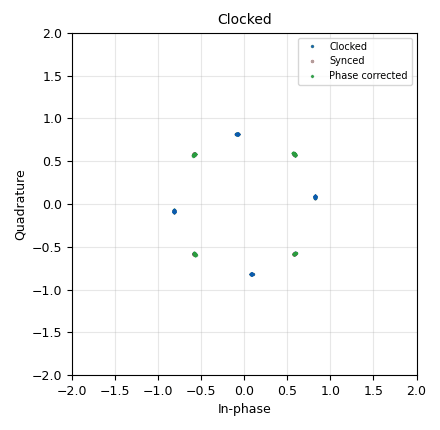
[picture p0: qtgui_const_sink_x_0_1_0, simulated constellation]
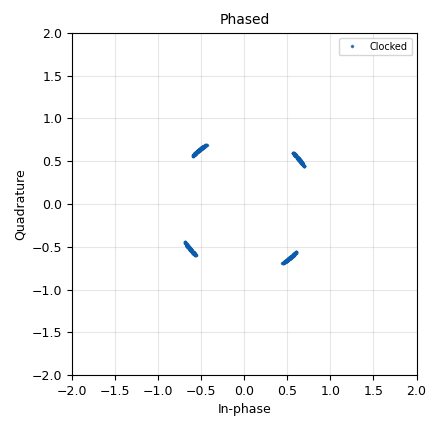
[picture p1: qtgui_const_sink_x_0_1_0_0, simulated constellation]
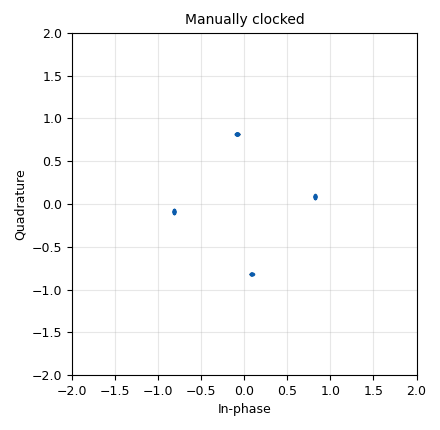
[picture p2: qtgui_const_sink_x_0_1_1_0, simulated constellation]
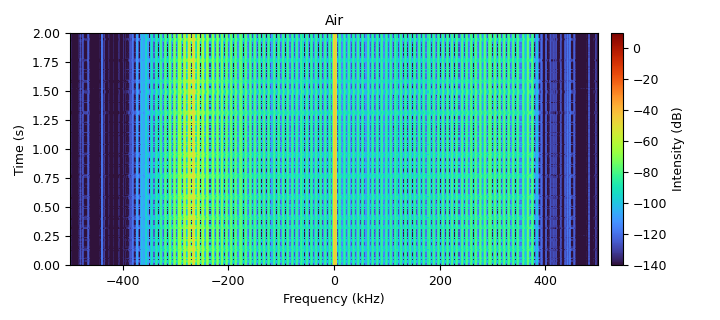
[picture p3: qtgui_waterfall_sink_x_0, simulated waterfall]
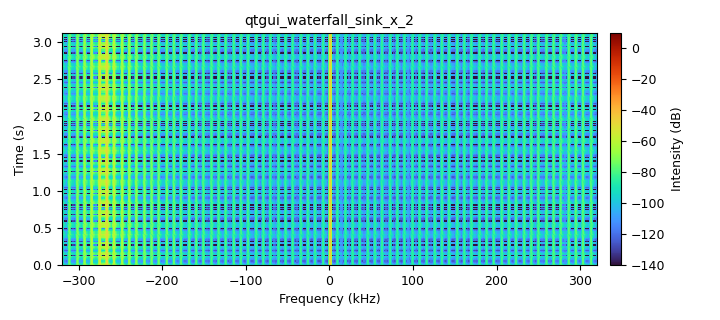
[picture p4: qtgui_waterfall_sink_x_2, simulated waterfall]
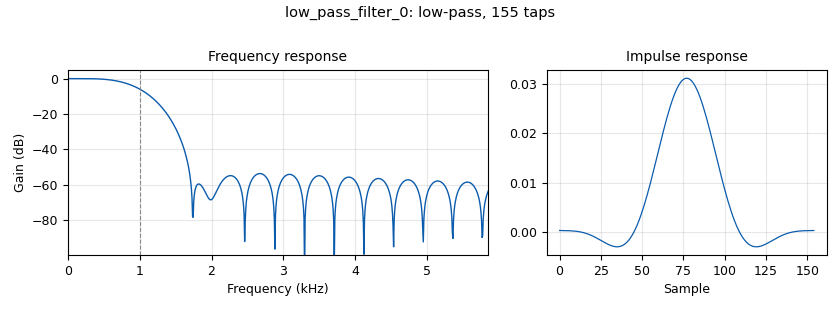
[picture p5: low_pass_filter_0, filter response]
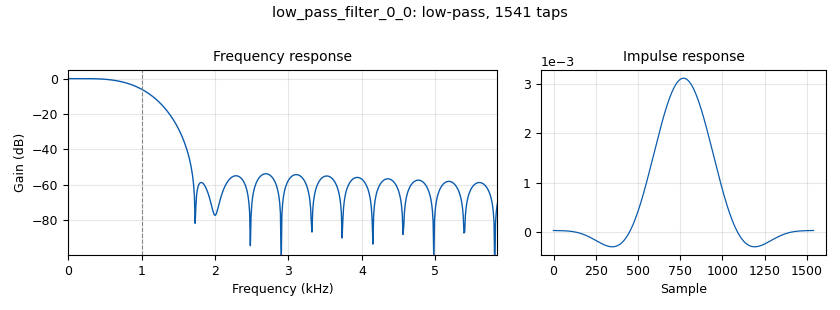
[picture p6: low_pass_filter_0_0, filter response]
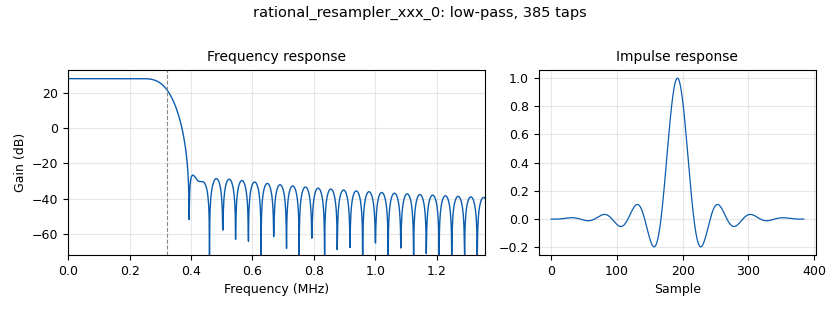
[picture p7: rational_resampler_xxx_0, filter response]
options:
  parameters:
    author: Thomas
    generate_options: qt_gui
    id: ofdm_example
    output_language: python
    title: OFDM test
  states: {}

blocks:
- name: bucket
  id: variable
  parameters:
    value: '5'
  states: {state: disabled}
- name: bucket
  id: variable_qtgui_entry
  parameters:
    gui_hint: controls@0
    type: int
    value: '5'
  states: {}
- name: buckets
  id: variable
  parameters:
    value: '64'
  states: {}
- name: coarse_lock_alpha
  id: variable_qtgui_entry
  parameters:
    gui_hint: controls@3
    type: real
    value: '0.001'
  states: {}
- name: coarse_phase_lock_alpha
  id: variable_qtgui_entry
  parameters:
    gui_hint: controls@3
    type: real
    value: '0.01'
  states: {}
- name: costas_bw
  id: variable_qtgui_entry
  parameters:
    gui_hint: controls@2
    type: real
    value: math.pi/100
  states: {}
- name: freq
  id: variable
  parameters:
    value: 2.3950e9
  states: {}
- name: freq_ofs
  id: variable_qtgui_range
  parameters:
    gui_hint: controls@0
    start: '-500'
    step: '0.1'
    stop: '10000'
    value: '0'
  states: {}
- name: hw_rx_offset
  id: variable_qtgui_entry
  parameters:
    gui_hint: controls@4
    type: real
    value: '0'
  states: {}
- name: igain
  id: variable_qtgui_range
  parameters:
    gui_hint: controls@4
    start: '0'
    step: '0.01'
    stop: '1'
    value: '0'
  states: {}
- name: noise
  id: variable_qtgui_entry
  parameters:
    gui_hint: controls@0
    type: real
    value: '0'
  states: {}
- name: ogain
  id: variable_qtgui_range
  parameters:
    gui_hint: controls@4
    start: '0'
    step: '0.01'
    stop: '1'
    value: '0'
  states: {}
- name: other_mag
  id: variable_qtgui_range
  parameters:
    gui_hint: controls@0
    start: '0'
    step: '0.01'
    stop: '1'
    value: '0'
  states: {}
- name: probe_freq_ofs
  id: variable_function_probe
  parameters:
    block_id: probe_freq_probe
    function_name: level
    poll_rate: '10'
    value: '0'
  states: {}
- name: probe_phase_ofs
  id: variable_function_probe
  parameters:
    block_id: probe_phase_probe
    function_name: level
    poll_rate: '10'
    value: '0'
  states: {}
- name: rf_samp_rate
  id: variable
  parameters:
    value: '1000000'
  states: {}
- name: rrc_beta
  id: variable_qtgui_range
  parameters:
    gui_hint: controls@1
    start: '0.01'
    step: '0.01'
    stop: '1'
    value: '0.65'
  states: {}
- name: rrc_taps
  id: variable
  parameters:
    value: '131'
  states: {}
- name: samp_rate
  id: variable
  parameters:
    value: '1000'
  states: {}
- name: sps
  id: variable
  parameters:
    value: '10'
  states: {}
- name: sps_delay
  id: variable_qtgui_range
  parameters:
    gui_hint: tabs@2
    rangeType: int
    start: '0'
    step: '1'
    stop: sps
    value: '9'
  states: {}
- name: sym_power
  id: variable_qtgui_entry
  parameters:
    gui_hint: controls@0
    type: real
    value: '1'
  states: {}
- name: symbol_sync_loop_bw
  id: variable_qtgui_entry
  parameters:
    gui_hint: controls@2
    type: real
    value: '0.06283'
  states: {}
- name: ted_gain
  id: variable_qtgui_range
  parameters:
    gui_hint: controls@2
    start: '0'
    step: '0.01'
    stop: '1'
    value: '1'
  states: {}
- name: winwin
  id: variable
  parameters:
    value: window.rectangular(buckets)
  states: {}
- name: winwin_0
  id: variable
  parameters:
    value: '[(1.0/buckets)**0.5]*buckets'
  states: {}
- name: winwin_blackmanharris
  id: variable
  parameters:
    value: window.blackmanharris(buckets)
  states: {}
- name: analog_const_source_x_0
  id: analog_const_source_x
  parameters:
    const: '1'
    type: float
  states: {state: disabled}
- name: analog_pll_freqdet_cf_0
  id: analog_pll_freqdet_cf
  parameters:
    max_freq: '0.2'
    min_freq: '-0.2'
    w: 2*3.14/15000
  states: {}
- name: analog_quadrature_demod_cf_0
  id: analog_quadrature_demod_cf
  parameters:
    gain: '1'
  states: {}
- name: analog_quadrature_demod_cf_1
  id: analog_quadrature_demod_cf
  parameters:
    gain: (samp_rate*buckets)/(2*math.pi)
  states: {}
- name: analog_random_source_x_0
  id: analog_random_source_x
  parameters:
    max: '4'
    min: '0'
    num_samps: '1000'
    repeat: 'True'
    type: byte
  states: {}
- name: analog_random_source_x_1
  id: analog_random_source_x
  parameters:
    max: '2'
    min: '0'
    num_samps: '1000'
    repeat: 'True'
    type: int
  states: {state: disabled}
- name: analog_random_source_x_2
  id: analog_random_source_x
  parameters:
    max: 2+freq_ofs
    min: '1'
    num_samps: '1000'
    repeat: 'True'
    type: int
  states: {state: disabled}
- name: analog_sig_source_x_0
  id: analog_sig_source_x
  parameters:
    amp: '1'
    freq: '-probe_freq_ofs'
    offset: '0'
    phase: '0'
    samp_rate: samp_rate*sps*buckets
    type: complex
    waveform: analog.GR_COS_WAVE
  states: {}
- name: blocks_complex_to_arg_0
  id: blocks_complex_to_arg
  parameters: {}
  states: {}
- name: blocks_delay_0
  id: blocks_delay
  parameters:
    comment: |-
      Manually clocked path only
      works when not frequency
      tracking.
    delay: sps_delay
    type: complex
  states: {}
- name: blocks_delay_1
  id: blocks_delay
  parameters:
    delay: '5'
    type: complex
  states: {}
- name: blocks_int_to_float_0
  id: blocks_int_to_float
  parameters:
    scale: samp_rate*sps*buckets
  states: {state: disabled}
- name: blocks_keep_m_in_n_0
  id: blocks_keep_m_in_n
  parameters:
    m: buckets
    n: buckets+buckets//8
    offset: 0*buckets//8
    type: complex
  states: {}
- name: blocks_keep_one_in_n_0
  id: blocks_keep_one_in_n
  parameters:
    n: sps
    type: complex
  states: {}
- name: blocks_keep_one_in_n_2
  id: blocks_keep_one_in_n
  parameters:
    n: '100'
    type: float
  states: {}
- name: blocks_keep_one_in_n_2_1
  id: blocks_keep_one_in_n
  parameters:
    n: '100'
    type: float
  states: {}
- name: blocks_moving_average_xx_0
  id: blocks_moving_average_xx
  parameters:
    length: '1000'
    max_iter: '4000'
    scale: 1/1000*1/(2*math.pi)*samp_rate*sps
    type: float
  states: {}
- name: blocks_multiply_const_vxx_0
  id: blocks_multiply_const_vxx
  parameters:
    const: sym_power*math.sqrt(2)/2
    type: complex
  states: {}
- name: blocks_multiply_const_vxx_1
  id: blocks_multiply_const_vxx
  parameters:
    const: buckets*[1.0/buckets]
    type: complex
    vlen: buckets
  states: {state: disabled}
- name: blocks_multiply_const_vxx_1_0
  id: blocks_multiply_const_vxx
  parameters:
    const: 1.0/buckets
    type: complex
  states: {}
- name: blocks_multiply_const_vxx_2
  id: blocks_multiply_const_vxx
  parameters:
    const: 1/(2*math.pi)*samp_rate*sps
    type: float
  states: {}
- name: blocks_multiply_const_vxx_3
  id: blocks_multiply_const_vxx
  parameters:
    const: ' np.exp(-1j*((probe_phase_ofs + math.pi) % (2*math.pi) / 4))'
    type: complex
  states: {}
- name: blocks_multiply_const_vxx_3_0
  id: blocks_multiply_const_vxx
  parameters:
    comment: |-
      Phase corrected from other
      Symbol Sync.
    const: ' np.exp(-1j*((probe_phase_ofs + math.pi) % (2*math.pi) / 4))'
    type: complex
  states: {}
- name: blocks_multiply_xx_0
  id: blocks_multiply_xx
  parameters:
    comment: |-
      Phase of samples to the fourth power
      makes us able to extract phase offset
      despite having four constellation points.
    num_inputs: '4'
    type: complex
  states: {}
- name: blocks_multiply_xx_1
  id: blocks_multiply_xx
  parameters:
    type: complex
  states: {}
- name: blocks_null_sink_0
  id: blocks_null_sink
  parameters:
    type: complex
  states: {}
- name: blocks_null_sink_1
  id: blocks_null_sink
  parameters:
    type: float
  states: {}
- name: blocks_null_sink_1_0
  id: blocks_null_sink
  parameters:
    type: float
  states: {}
- name: blocks_null_source_0
  id: blocks_null_source
  parameters:
    type: complex
  states: {state: disabled}
- name: blocks_packed_to_unpacked_xx_0
  id: blocks_packed_to_unpacked_xx
  parameters:
    bits_per_chunk: '2'
    endianness: gr.GR_MSB_FIRST
    type: byte
  states: {state: disabled}
- name: blocks_repeat_0
  id: blocks_repeat
  parameters:
    interp: sps
    type: complex
  states: {}
- name: blocks_stream_to_vector_0
  id: blocks_stream_to_vector
  parameters:
    num_items: buckets
    type: complex
  states: {}
- name: blocks_throttle2_0
  id: blocks_throttle2
  parameters:
    samples_per_second: samp_rate*10
    type: byte
  states: {}
- name: blocks_vector_source_x_0
  id: blocks_vector_source_x
  parameters:
    repeat: 'True'
    type: byte
    vector: (42,93,84,13,132)
  states: {state: disabled}
- name: blocks_vector_to_stream_1
  id: blocks_vector_to_stream
  parameters:
    num_items: buckets
    type: complex
  states: {state: disabled}
- name: channels_channel_model2_0
  id: channels_channel_model2
  parameters:
    comment: Currently unused nastier frequency noise
    epsilon: '1.0'
    noise_voltage: '0.0'
    seed: '0'
    taps: '1.0'
  states: {state: disabled}
- name: channels_channel_model_0
  id: channels_channel_model
  parameters:
    epsilon: '1.0'
    freq_offset: float(freq_ofs)/(rf_samp_rate)
    noise_voltage: noise
    seed: '0'
    taps: '1.0'
  states: {}
- name: controls
  id: qtgui_tab_widget
  parameters:
    gui_hint: 0,0
    label0: Generator
    label1: Shaping
    label2: Symbol sync
    label3: Freq lock
    label4: TX/RX
    num_tabs: '5'
  states: {}
- name: digital_chunks_to_symbols_xx_0
  id: digital_chunks_to_symbols_xx
  parameters:
    dimension: '1'
    in_type: byte
    out_type: complex
    symbol_table: '[1+1j,-1+1j,-1+-1j,1-1j]'
  states: {}
- name: digital_costas_loop_cc_0
  id: digital_costas_loop_cc
  parameters:
    comment: |-
      The bandwidth here is small because most of the tuning
      is already done by the pilot signal tune.

      Ideally we would have the main tuner signal "locked"
      via a tag so that the costas loop can reset its state.
    order: '4'
    w: costas_bw
  states: {}
- name: digital_ofdm_cyclic_prefixer_0
  id: digital_ofdm_cyclic_prefixer
  parameters:
    cp_len: buckets//8
    input_size: buckets
    tagname: '""'
  states: {}
- name: digital_symbol_sync_xx_0
  id: digital_symbol_sync_xx
  parameters:
    constellation: digital.constellation_qpsk().base()
    damping: '1.0'
    loop_bw: symbol_sync_loop_bw
    max_dev: '0.5'
    osps: '1'
    resamp_type: digital.IR_MMSE_8TAP
    sps: sps
    ted_gain: ted_gain
    ted_type: digital.TED_GARDNER
    type: cc
  states: {}
- name: digital_symbol_sync_xx_0_0
  id: digital_symbol_sync_xx
  parameters:
    constellation: digital.constellation_qpsk().base()
    damping: '1.0'
    loop_bw: symbol_sync_loop_bw
    max_dev: '0.5'
    osps: '1'
    resamp_type: digital.IR_MMSE_8TAP
    sps: sps
    ted_gain: ted_gain
    ted_type: digital.TED_GARDNER
    type: cc
  states: {}
- name: epy_block_0
  id: epy_block
  parameters:
    M: bucket
    N: buckets
    _source_code: |
      """
      Embedded Python Blocks:

      Each time this file is saved, GRC will instantiate the first class it finds
      to get ports and parameters of your block. The arguments to __init__  will
      be the parameters. All of them are required to have default values!
      """
      import numpy as np
      import random
      from gnuradio import gr


      class blk(gr.sync_block):
          """Place each complex input sample at index M of an N-element vector."""

          def __init__(self, N=64, M=0, mag = 0.5):
              if N <= 0:
                  raise ValueError("N must be positive")
              if not 0 <= M < N:
                  raise ValueError("M must satisfy 0 <= M < N")

              self.N = int(N)
              self.M = int(M)
              self.mag = mag

              gr.sync_block.__init__(
                  self,
                  name="Complex to sparse vector",
                  in_sig=[np.complex64],
                  out_sig=[(np.complex64, self.N)],
              )

          def work(self, input_items, output_items):
              src = input_items[0]
              dst = output_items[0]

              n = len(src)
              center = self.N // 2
              dst.fill(0)
              dst[:, center] = 1.0 + 0.0j
              for i in range(self.N):
                  if abs(i - center) >= 5:
                      #dst[:, i] = self.mag*(random.random() + random.random() * 1.0j)
                      #dst[:, i] = self.mag * ( np.random.random(n) + 1.0j * np.random.random(n))
                      dst[:, i] = self.mag * np.exp(1.0j * 2.0 * np.pi * np.random.random(n))
              dst[:, self.M] = src

              return n
    mag: other_mag
  states: {}
- name: epy_block_0_0
  id: epy_block
  parameters:
    _source_code: |
      """
      Embedded Python Blocks:

      Each time this file is saved, GRC will instantiate the first class it finds
      to get ports and parameters of your block. The arguments to __init__  will
      be the parameters. All of them are required to have default values!
      """

      import numpy as np
      from gnuradio import gr


      class blk(gr.sync_block):
          def __init__(self, fft_len=64, samp_rate=1e6, ref_bin=512):
              gr.sync_block.__init__(
                  self,
                  name="Jacobsen CFO Estimator",
                  in_sig=[(np.complex64, fft_len)],
                  out_sig=[np.float32],
              )

              self.fft_len = fft_len
              self.samp_rate = samp_rate
              self.ref_bin = ref_bin

          def work(self, input_items, output_items):
              inp = input_items[0]
              out = output_items[0]

              k = self.ref_bin
              bin_width = self.samp_rate / self.fft_len

              for i, fft in enumerate(inp):
                  xm1 = fft[k - 1]
                  x0  = fft[k]
                  xp1 = fft[k + 1]

                  denom = 2.0 * x0 - xm1 - xp1

                  if abs(denom) > 1e-20:
                      delta = np.real((xm1 - xp1) / denom)
                      out[i] = delta * bin_width
                  else:
                      out[i] = 0.0

              return len(out)
    comment: FFT pilot tracking frequency evaluation.
    fft_len: buckets
    ref_bin: buckets//2
    samp_rate: samp_rate*sps*buckets
  states: {}
- name: epy_block_1
  id: epy_block
  parameters:
    M: bucket
    N: buckets
    _source_code: |
      """
      Embedded Python Blocks:

      Each time this file is saved, GRC will instantiate the first class it finds
      to get ports and parameters of your block. The arguments to __init__  will
      be the parameters. All of them are required to have default values!
      """
      import numpy as np
      from gnuradio import gr


      class blk(gr.sync_block):
          """
          Input:  complex vector of length N
          Output: complex scalar, equal to input[M]
          """

          def __init__(self, N=64, M=0):
              gr.sync_block.__init__(
                  self,
                  name="Vector Bucket Select",
                  in_sig=[(np.complex64, N)],
                  out_sig=[np.complex64],
              )

              self.N = N
              self.M = M

              if not 0 <= M < N:
                  raise ValueError(f"M must be in [0, {N})")

          def work(self, input_items, output_items):
              inp = input_items[0]
              out = output_items[0]

              out[:] = inp[:, self.M]

              return len(out)
    comment: Decode of our relevant subcarrier.
  states: {}
- name: epy_block_1_0
  id: epy_block
  parameters:
    M: buckets//2
    N: buckets
    _source_code: |
      """
      Embedded Python Blocks:

      Each time this file is saved, GRC will instantiate the first class it finds
      to get ports and parameters of your block. The arguments to __init__  will
      be the parameters. All of them are required to have default values!
      """
      import numpy as np
      from gnuradio import gr


      class blk(gr.sync_block):
          """
          Input:  complex vector of length N
          Output: complex scalar, equal to input[M]
          """

          def __init__(self, N=64, M=0):
              gr.sync_block.__init__(
                  self,
                  name="Vector Bucket Select",
                  in_sig=[(np.complex64, N)],
                  out_sig=[np.complex64],
              )

              self.N = N
              self.M = M

              if not 0 <= M < N:
                  raise ValueError(f"M must be in [0, {N})")

          def work(self, input_items, output_items):
              inp = input_items[0]
              out = output_items[0]

              out[:] = inp[:, self.M]

              return len(out)
    comment: Pilot signal analysis
  states: {}
- name: fft_vxx_0
  id: fft_vxx
  parameters:
    fft_size: buckets
    forward: 'False'
    shift: 'True'
    type: complex
    window: winwin
  states: {}
- name: fft_vxx_1
  id: fft_vxx
  parameters:
    fft_size: buckets
    forward: 'True'
    shift: 'True'
    type: complex
    window: winwin
  states: {}
- name: hz_error
  id: qtgui_number_sink
  parameters:
    graph_type: qtgui.NUM_GRAPH_HORIZ
    gui_hint: tabs@0
    label1: PLL
    label2: Quad demod
    name: '"Pilot signal frequency error (Hz)"'
    nconnections: '2'
    type: float
  states: {state: disabled}
- name: import_0
  id: import
  parameters:
    imports: import numpy as np
  states: {}
- name: low_pass_filter_0
  id: low_pass_filter
  parameters:
    cutoff_freq: '1000'
    decim: '1'
    gain: '1'
    samp_rate: samp_rate*buckets
    type: fir_filter_ccf
    width: '1000'
    win: window.WIN_HAMMING
  states: {}
- name: low_pass_filter_0_0
  id: low_pass_filter
  parameters:
    comment: Coarse clock sync path
    cutoff_freq: '1000'
    decim: sps
    gain: '1'
    samp_rate: samp_rate*sps*buckets
    type: fir_filter_ccf
    width: '1000'
    win: window.WIN_HAMMING
  states: {}
- name: probe_freq_probe
  id: blocks_probe_signal_x
  parameters:
    type: float
  states: {}
- name: probe_phase_probe
  id: blocks_probe_signal_x
  parameters:
    type: float
  states: {}
- name: qtgui_const_sink_x_0
  id: qtgui_const_sink_x
  parameters:
    name: '"Air"'
    size: '1024'
    type: complex
  states: {state: disabled}
- name: qtgui_const_sink_x_0_0
  id: qtgui_const_sink_x
  parameters:
    gui_hint: tabs@0
    name: '"Generated"'
    size: '1024'
    style1: '1'
    type: complex
  states: {state: disabled}
- name: qtgui_const_sink_x_0_0_0
  id: qtgui_const_sink_x
  parameters:
    gui_hint: tabs@0
    name: '"Filtered"'
    size: '1024'
    style1: '1'
    type: complex
  states: {state: disabled}
- name: qtgui_const_sink_x_0_1
  id: qtgui_const_sink_x
  parameters:
    autoscale: 'True'
    name: '"Our subcarrier"'
    size: '100'
    type: complex
  states: {state: disabled}
- name: qtgui_const_sink_x_0_1_0
  id: qtgui_const_sink_x
  parameters:
    gui_hint: tabs@3
    label1: Clocked
    label2: Synced
    label3: Phase corrected
    name: '"Clocked"'
    nconnections: '3'
    size: '100'
    style1: '1'
    style2: '2'
    type: complex
  states: {}
- name: qtgui_const_sink_x_0_1_0_0
  id: qtgui_const_sink_x
  parameters:
    gui_hint: tabs@3
    label1: Clocked
    name: '"Phased"'
    size: '1000'
    style1: '1'
    type: complex
  states: {}
- name: qtgui_const_sink_x_0_1_1_0
  id: qtgui_const_sink_x
  parameters:
    gui_hint: tabs@2
    name: '"Manually clocked"'
    size: '100'
    type: complex
  states: {}
- name: qtgui_const_sink_x_1
  id: qtgui_const_sink_x
  parameters:
    gui_hint: tabs@1
    name: '"Air"'
    size: '1024'
    type: complex
  states: {state: disabled}
- name: qtgui_eye_sink_x_1
  id: qtgui_eye_sink_x
  parameters:
    gui_hint: tabs@3
    marker1: '0'
    marker2: '0'
    samp_per_symbol: '1'
    size: '20'
    srate: samp_rate
    type: complex
  states: {state: disabled}
- name: qtgui_freq_sink_x_1
  id: qtgui_freq_sink_x
  parameters:
    bw: rf_samp_rate
    fc: '0'
    fftsize: '2048'
    gui_hint: tabs@1
    name: '"Air"'
    type: complex
  states: {state: disabled}
- name: qtgui_freq_sink_x_1_0
  id: qtgui_freq_sink_x
  parameters:
    bw: samp_rate*sps*buckets
    fc: '0'
    fftsize: '2048'
    gui_hint: tabs@4
    name: '"Air"'
    type: complex
  states: {state: disabled}
- name: qtgui_number_sink_0
  id: qtgui_number_sink
  parameters:
    graph_type: qtgui.NUM_GRAPH_HORIZ
    gui_hint: tabs@0
    name: '"FFT calculated offset"'
    type: float
  states: {}
- name: qtgui_number_sink_1
  id: qtgui_number_sink
  parameters:
    graph_type: qtgui.NUM_GRAPH_HORIZ
    gui_hint: tabs@0
    name: '"Coarse freq tune"'
    type: float
  states: {}
- name: qtgui_number_sink_2
  id: qtgui_number_sink
  parameters:
    graph_type: qtgui.NUM_GRAPH_HORIZ
    name: '"BLAH"'
    type: float
  states: {state: disabled}
- name: qtgui_number_sink_3
  id: qtgui_number_sink
  parameters:
    graph_type: qtgui.NUM_GRAPH_HORIZ
    gui_hint: tabs@3
    max: math.pi
    min: '-math.pi'
    name: '"Phase offset"'
    type: float
  states: {}
- name: qtgui_sink_x_0
  id: qtgui_sink_x
  parameters:
    bw: samp_rate
    fc: '0'
    fftsize: '1024'
    gui_hint: tabs@1
    name: '"Air"'
    type: complex
  states: {state: disabled}
- name: qtgui_time_sink_x_2
  id: qtgui_time_sink_x
  parameters:
    gui_hint: tabs@0
    name: '"Lolz"'
    size: '1024'
    srate: samp_rate
    type: float
  states: {state: disabled}
- name: qtgui_waterfall_sink_x_0
  id: qtgui_waterfall_sink_x
  parameters:
    bw: rf_samp_rate
    fc: '0'
    fftsize: '1024'
    gui_hint: tabs@1
    name: '"Air"'
    type: complex
  states: {}
- name: qtgui_waterfall_sink_x_1
  id: qtgui_waterfall_sink_x
  parameters:
    bw: samp_rate*buckets
    fc: '0'
    fftsize: '1024'
    gui_hint: tabs@0
    type: complex
  states: {state: disabled}
- name: qtgui_waterfall_sink_x_2
  id: qtgui_waterfall_sink_x
  parameters:
    bw: samp_rate*sps*buckets
    fc: '0'
    fftsize: '1024'
    gui_hint: tabs@4
    type: complex
  states: {}
- name: rational_resampler_xxx_0
  id: rational_resampler_xxx
  parameters:
    comment: |-
      The 25/16 is the ratio of rf_samp_rate to
      samp_rate*sps*buckets
    decim: '16'
    interp: '25'
    taps: firdes.low_pass(25,16e6,320000,100000)
    type: ccc
  states: {}
- name: rational_resampler_xxx_1
  id: rational_resampler_xxx
  parameters:
    comment: |-
      The 25/16 is the ratio of rf_samp_rate to
      samp_rate*sps*buckets
    decim: '25'
    interp: '16'
    taps: firdes.low_pass(16, 16e6, 320e3, 10e3)
    type: ccc
  states: {}
- name: single_pole_iir_filter_xx_0
  id: single_pole_iir_filter_xx
  parameters:
    alpha: '0.00046'
    type: float
  states: {}
- name: single_pole_iir_filter_xx_1
  id: single_pole_iir_filter_xx
  parameters:
    alpha: '0.05'
    type: float
  states: {}
- name: single_pole_iir_filter_xx_2
  id: single_pole_iir_filter_xx
  parameters:
    alpha: coarse_lock_alpha
    type: float
  states: {}
- name: single_pole_iir_filter_xx_2_0_0
  id: single_pole_iir_filter_xx
  parameters:
    alpha: coarse_phase_lock_alpha
    type: complex
  states: {}
- name: single_pole_iir_filter_xx_3
  id: single_pole_iir_filter_xx
  parameters:
    alpha: '0.01'
    type: float
  states: {state: disabled}
- name: soapy_limesdr_sink_0
  id: soapy_limesdr_sink
  parameters:
    center_freq: freq
    gain: (64+12)*ogain-12
    samp_rate: rf_samp_rate
    type: fc32
  states: {state: disabled}
- name: tabs
  id: qtgui_tab_widget
  parameters:
    label0: Generator
    label1: Air
    label2: Manually clocked
    label3: Clocked
    label4: Radio RX
    num_tabs: '5'
  states: {}
- name: uhd_usrp_source_0
  id: uhd_usrp_source
  parameters:
    ant0: '"RX2"'
    center_freq0: freq+hw_rx_offset
    gain0: igain
    gain_type0: normalized
    samp_rate: rf_samp_rate
    sync: sync
    type: fc32
  states: {state: disabled}
- name: virtual_sink_0
  id: virtual_sink
  parameters:
    stream_id: radio_tx
  states: {}
- name: virtual_sink_1
  id: virtual_sink
  parameters:
    stream_id: radio_rx
  states: {}
- name: virtual_sink_2
  id: virtual_sink
  parameters:
    stream_id: freq_locked
  states: {}
- name: virtual_source_0
  id: virtual_source
  parameters:
    stream_id: radio_tx
  states: {}
- name: virtual_source_1
  id: virtual_source
  parameters:
    stream_id: radio_rx
  states: {}
- name: virtual_source_2
  id: virtual_source
  parameters:
    stream_id: freq_locked
  states: {}

connections:
- [analog_const_source_x_0, '0', channels_channel_model2_0, '2']
- [analog_pll_freqdet_cf_0, '0', blocks_multiply_const_vxx_2, '0']
- [analog_quadrature_demod_cf_0, '0', single_pole_iir_filter_xx_1, '0']
- [analog_quadrature_demod_cf_1, '0', single_pole_iir_filter_xx_2, '0']
- [analog_random_source_x_0, '0', blocks_throttle2_0, '0']
- [analog_random_source_x_2, '0', blocks_int_to_float_0, '0']
- [analog_sig_source_x_0, '0', blocks_multiply_xx_1, '0']
- [blocks_complex_to_arg_0, '0', probe_phase_probe, '0']
- [blocks_complex_to_arg_0, '0', qtgui_number_sink_3, '0']
- [blocks_delay_0, '0', blocks_keep_one_in_n_0, '0']
- [blocks_delay_1, '0', blocks_multiply_const_vxx_3, '0']
- [blocks_int_to_float_0, '0', single_pole_iir_filter_xx_3, '0']
- [blocks_keep_m_in_n_0, '0', blocks_stream_to_vector_0, '0']
- [blocks_keep_one_in_n_0, '0', qtgui_const_sink_x_0_1_1_0, '0']
- [blocks_keep_one_in_n_2, '0', blocks_null_sink_1_0, '0']
- [blocks_keep_one_in_n_2, '0', hz_error, '1']
- [blocks_keep_one_in_n_2_1, '0', blocks_null_sink_1, '0']
- [blocks_keep_one_in_n_2_1, '0', hz_error, '0']
- [blocks_moving_average_xx_0, '0', blocks_keep_one_in_n_2, '0']
- [blocks_multiply_const_vxx_0, '0', blocks_repeat_0, '0']
- [blocks_multiply_const_vxx_1, '0', blocks_vector_to_stream_1, '0']
- [blocks_multiply_const_vxx_1_0, '0', rational_resampler_xxx_0, '0']
- [blocks_multiply_const_vxx_2, '0', blocks_keep_one_in_n_2_1, '0']
- [blocks_multiply_const_vxx_3, '0', qtgui_const_sink_x_0_1_0, '2']
- [blocks_multiply_const_vxx_3_0, '0', digital_symbol_sync_xx_0_0, '0']
- [blocks_multiply_xx_0, '0', single_pole_iir_filter_xx_2_0_0, '0']
- [blocks_multiply_xx_1, '0', virtual_sink_2, '0']
- [blocks_null_source_0, '0', channels_channel_model_0, '0']
- [blocks_packed_to_unpacked_xx_0, '0', blocks_throttle2_0, '0']
- [blocks_repeat_0, '0', epy_block_0, '0']
- [blocks_stream_to_vector_0, '0', fft_vxx_1, '0']
- [blocks_throttle2_0, '0', digital_chunks_to_symbols_xx_0, '0']
- [blocks_vector_source_x_0, '0', blocks_packed_to_unpacked_xx_0, '0']
- [blocks_vector_to_stream_1, '0', rational_resampler_xxx_0, '0']
- [channels_channel_model2_0, '0', virtual_sink_1, '0']
- [channels_channel_model_0, '0', channels_channel_model2_0, '0']
- [channels_channel_model_0, '0', virtual_sink_1, '0']
- [digital_chunks_to_symbols_xx_0, '0', blocks_multiply_const_vxx_0, '0']
- [digital_chunks_to_symbols_xx_0, '0', qtgui_const_sink_x_0_0, '0']
- [digital_costas_loop_cc_0, '0', qtgui_const_sink_x_0_1_0, '1']
- [digital_costas_loop_cc_0, '0', qtgui_eye_sink_x_1, '0']
- [digital_ofdm_cyclic_prefixer_0, '0', blocks_multiply_const_vxx_1_0, '0']
- [digital_symbol_sync_xx_0, '0', blocks_delay_1, '0']
- [digital_symbol_sync_xx_0, '0', blocks_multiply_xx_0, '0']
- [digital_symbol_sync_xx_0, '0', blocks_multiply_xx_0, '1']
- [digital_symbol_sync_xx_0, '0', blocks_multiply_xx_0, '2']
- [digital_symbol_sync_xx_0, '0', blocks_multiply_xx_0, '3']
- [digital_symbol_sync_xx_0, '0', digital_costas_loop_cc_0, '0']
- [digital_symbol_sync_xx_0, '0', qtgui_const_sink_x_0_1_0, '0']
- [digital_symbol_sync_xx_0_0, '0', qtgui_const_sink_x_0_1_0_0, '0']
- [epy_block_0, '0', fft_vxx_0, '0']
- [epy_block_0_0, '0', single_pole_iir_filter_xx_0, '0']
- [epy_block_1, '0', blocks_delay_0, '0']
- [epy_block_1, '0', blocks_multiply_const_vxx_3_0, '0']
- [epy_block_1, '0', digital_symbol_sync_xx_0, '0']
- [epy_block_1, '0', qtgui_const_sink_x_0_1, '0']
- [epy_block_1_0, '0', analog_pll_freqdet_cf_0, '0']
- [epy_block_1_0, '0', analog_quadrature_demod_cf_0, '0']
- [fft_vxx_0, '0', digital_ofdm_cyclic_prefixer_0, '0']
- [fft_vxx_1, '0', epy_block_0_0, '0']
- [fft_vxx_1, '0', epy_block_1, '0']
- [fft_vxx_1, '0', epy_block_1_0, '0']
- [low_pass_filter_0, '0', analog_quadrature_demod_cf_1, '0']
- [low_pass_filter_0, '0', qtgui_waterfall_sink_x_1, '0']
- [low_pass_filter_0_0, '0', low_pass_filter_0, '0']
- [rational_resampler_xxx_0, '0', soapy_limesdr_sink_0, '0']
- [rational_resampler_xxx_0, '0', virtual_sink_0, '0']
- [rational_resampler_xxx_1, '0', blocks_multiply_xx_1, '1']
- [rational_resampler_xxx_1, '0', low_pass_filter_0_0, '0']
- [rational_resampler_xxx_1, '0', qtgui_freq_sink_x_1_0, '0']
- [rational_resampler_xxx_1, '0', qtgui_waterfall_sink_x_2, '0']
- [single_pole_iir_filter_xx_0, '0', qtgui_number_sink_0, '0']
- [single_pole_iir_filter_xx_1, '0', blocks_moving_average_xx_0, '0']
- [single_pole_iir_filter_xx_2, '0', probe_freq_probe, '0']
- [single_pole_iir_filter_xx_2, '0', qtgui_number_sink_1, '0']
- [single_pole_iir_filter_xx_2, '0', qtgui_time_sink_x_2, '0']
- [single_pole_iir_filter_xx_2_0_0, '0', blocks_complex_to_arg_0, '0']
- [single_pole_iir_filter_xx_3, '0', channels_channel_model2_0, '1']
- [single_pole_iir_filter_xx_3, '0', qtgui_number_sink_2, '0']
- [uhd_usrp_source_0, '0', rational_resampler_xxx_1, '0']
- [virtual_source_0, '0', channels_channel_model_0, '0']
- [virtual_source_0, '0', qtgui_const_sink_x_1, '0']
- [virtual_source_0, '0', qtgui_freq_sink_x_1, '0']
- [virtual_source_0, '0', qtgui_sink_x_0, '0']
- [virtual_source_0, '0', qtgui_waterfall_sink_x_0, '0']
- [virtual_source_1, '0', blocks_null_sink_0, '0']
- [virtual_source_1, '0', rational_resampler_xxx_1, '0']
- [virtual_source_2, '0', blocks_keep_m_in_n_0, '0']

metadata:
  file_format: 1
  grc_version: 3.10.12.0
